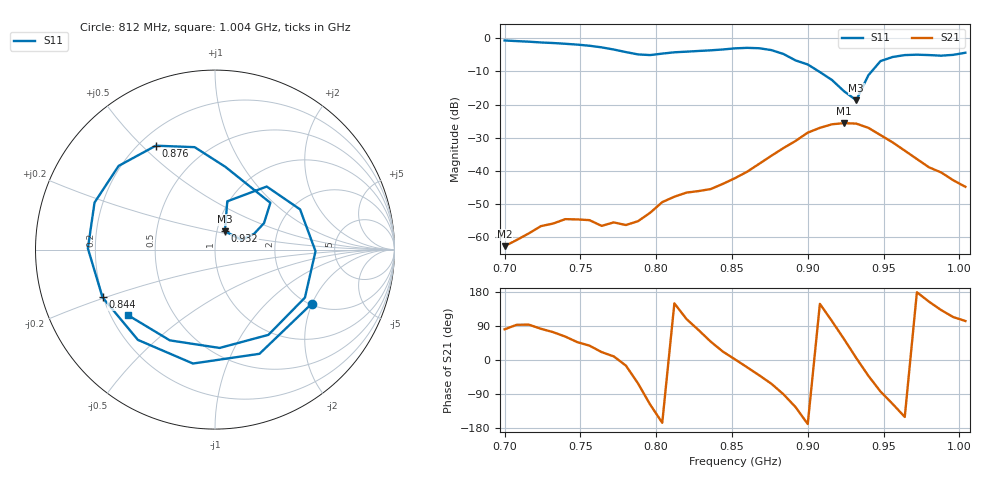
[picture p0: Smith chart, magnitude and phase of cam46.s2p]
# Hz S RI R 50
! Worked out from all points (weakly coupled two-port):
!   39 points, 700 MHz to 1.004 GHz, reference 50 ohm
!   highest |S21| = -25.63 dB at 924 MHz (marker M1); lowest = -62.9 dB at 700 MHz (marker M2)
!   lowest |S11| = -18.7 dB at 932 MHz (marker M3), VSWR 1.26, Z = 54.6 + j11.3 ohm
!   |S11| at or under -10 dB: 907.4 MHz to 942.1 MHz (34.7 MHz wide, 3.75 % of centre)
!   S12 and S22 are empty: the file has one direction only
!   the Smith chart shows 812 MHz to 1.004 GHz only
!   S11 on the Smith chart (normalised r, x): 812 MHz: 2.03, -1.98; 844 MHz: 0.20, -0.20; 876 MHz: 0.26, +0.55; 932 MHz: 1.09, +0.23; 1.004 GHz: 0.27, -0.31
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7e8  0.765 0.5331  0.000114 0.00071  0 0  0 0
7.24e8  0.8291 -0.2611  0.000191 0.00143  0 0  0 0
7.4e8  0.4446 -0.7015  0.000871 0.00163  0 0  0 0
7.56e8  -0.1959 -0.7503  0.00141 0.00109  0 0  0 0
7.72e8  -0.6527 -0.1907  0.00163 0.000273  0 0  0 0
7.8e8  -0.5766 0.2335  0.00145 -0.00038  0 0  0 0
7.88e8  -0.2206 0.5295  0.000815 -0.00151  0 0  0 0
7.96e8  0.2585 0.4972  -0.00106 -0.00204  0 0  0 0
8.04e8  0.5723 0.1418  -0.00323 -0.000825  0 0  0 0
8.12e8  0.5384 -0.3019  -0.00347 0.00205  0 0  0 0
8.28e8  -0.1227 -0.6347  0.000947 0.00481  0 0  0 0
8.44e8  -0.6267 -0.2659  0.00584 0.00238  0 0  0 0
8.52e8  -0.7082 0.00658  0.00769 0.000234  0 0  0 0
8.76e8  -0.3299 0.5789  0.00771 -0.0149  0 0  0 0
9e8  0.3085 0.2604  -0.0369 -0.00718  0 0  0 0
9.08e8  0.273 0.1472  -0.0377 0.0234  0 0  0 0
9.24e8  0.1492 0.0535  0.0301 0.0428  0 0  0 0
9.32e8  0.0553 0.1024  0.0512 0.00466  0 0  0 0
9.48e8  0.2883 0.3513  0.00405 -0.0342  0 0  0 0
9.56e8  0.4739 0.2242  -0.0117 -0.0241  0 0  0 0
9.8e8  0.2976 -0.4749  -0.0101 0.00494  0 0  0 0
1.004e9  -0.4868 -0.3642  -0.00127 0.00555  0 0  0 0
